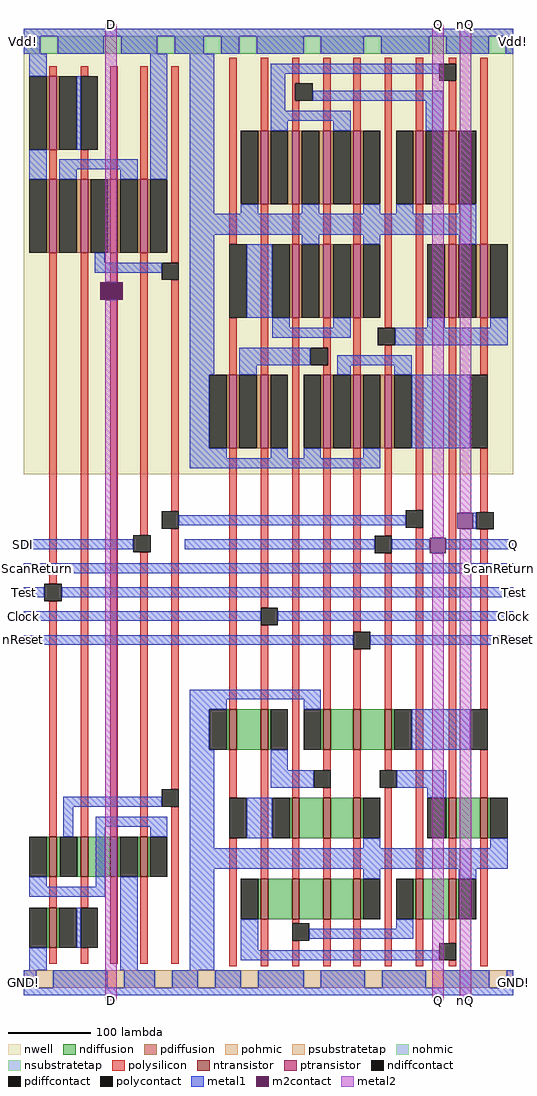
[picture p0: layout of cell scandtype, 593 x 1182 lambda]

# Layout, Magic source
magic
tech tsmc180
<< nwell >>
rect 0 637 593 1176
<< polysilicon >>
rect 31 1119 40 1131
rect 69 1119 78 1131
rect 31 994 40 1030
rect 69 994 78 1030
rect 105 994 114 1131
rect 141 994 150 1131
rect 31 504 40 905
rect 31 198 40 483
rect 69 198 78 905
rect 105 869 114 905
rect 105 198 114 848
rect 141 563 150 905
rect 179 893 188 1131
rect 179 592 188 872
rect 249 915 258 1141
rect 287 1053 296 1141
rect 325 1110 334 1141
rect 325 1089 329 1110
rect 325 1053 334 1089
rect 363 1053 372 1141
rect 399 1053 408 1141
rect 249 757 258 826
rect 287 757 296 964
rect 325 915 334 964
rect 363 915 372 964
rect 399 915 408 964
rect 141 198 150 542
rect 179 255 188 571
rect 249 352 258 668
rect 287 475 296 668
rect 287 352 296 454
rect 31 112 40 149
rect 69 112 78 149
rect 31 44 40 63
rect 69 44 78 63
rect 105 44 114 149
rect 141 44 150 149
rect 179 44 188 234
rect 249 245 258 303
rect 249 41 258 196
rect 287 147 296 303
rect 325 245 334 826
rect 363 790 372 826
rect 368 769 372 790
rect 363 757 372 769
rect 399 757 408 826
rect 437 814 446 1141
rect 475 1053 484 1141
rect 515 1134 524 1141
rect 515 1053 524 1113
rect 437 757 446 793
rect 363 352 372 668
rect 399 446 408 668
rect 437 562 446 668
rect 475 593 484 964
rect 515 915 524 964
rect 553 915 562 1141
rect 399 352 408 425
rect 437 352 446 541
rect 363 278 372 303
rect 363 245 372 257
rect 399 245 408 303
rect 437 278 446 303
rect 325 147 334 196
rect 363 147 372 196
rect 399 147 408 196
rect 287 41 296 98
rect 325 93 334 98
rect 325 41 334 72
rect 363 41 372 98
rect 399 41 408 98
rect 437 41 446 257
rect 475 147 484 572
rect 515 245 524 826
rect 553 757 562 826
rect 553 591 562 668
rect 553 352 562 570
rect 553 245 562 303
rect 515 147 524 196
rect 475 41 484 98
rect 515 69 524 98
rect 515 41 524 48
rect 553 41 562 196
<< ndiffusion >>
rect 246 303 249 352
rect 258 303 287 352
rect 296 303 299 352
rect 28 149 31 198
rect 40 149 44 198
rect 65 149 69 198
rect 78 149 105 198
rect 114 149 117 198
rect 138 149 141 198
rect 150 149 153 198
rect 28 63 31 112
rect 40 63 43 112
rect 360 303 363 352
rect 372 303 399 352
rect 408 303 437 352
rect 446 303 449 352
rect 322 196 325 245
rect 334 196 363 245
rect 372 196 399 245
rect 408 196 411 245
rect 284 98 287 147
rect 296 98 325 147
rect 334 98 363 147
rect 372 98 399 147
rect 408 98 411 147
rect 512 196 515 245
rect 524 196 553 245
rect 562 196 565 245
rect 472 98 475 147
rect 484 98 515 147
rect 524 98 527 147
<< pdiffusion >>
rect 28 1030 31 1119
rect 40 1030 43 1119
rect 28 905 31 994
rect 40 905 43 994
rect 64 905 69 994
rect 78 905 81 994
rect 102 905 105 994
rect 114 905 117 994
rect 138 905 141 994
rect 150 905 153 994
rect 284 964 287 1053
rect 296 964 299 1053
rect 320 964 325 1053
rect 334 964 337 1053
rect 358 964 363 1053
rect 372 964 375 1053
rect 396 964 399 1053
rect 408 964 411 1053
rect 322 826 325 915
rect 334 826 337 915
rect 358 826 363 915
rect 372 826 375 915
rect 396 826 399 915
rect 408 826 411 915
rect 246 668 249 757
rect 258 668 261 757
rect 282 668 287 757
rect 296 668 299 757
rect 472 964 475 1053
rect 484 964 487 1053
rect 508 964 515 1053
rect 524 964 527 1053
rect 360 668 363 757
rect 372 668 375 757
rect 396 668 399 757
rect 408 668 411 757
rect 432 668 437 757
rect 446 668 449 757
rect 510 826 515 915
rect 524 826 527 915
rect 548 826 553 915
rect 562 826 565 915
<< pohmic >>
rect 0 15 15 36
rect 36 15 101 36
rect 122 15 159 36
rect 180 15 211 36
rect 232 15 263 36
rect 284 15 339 36
rect 360 15 413 36
rect 434 15 487 36
rect 508 15 564 36
rect 585 15 593 36
<< nohmic >>
rect 0 1146 20 1167
rect 41 1146 97 1167
rect 118 1146 162 1167
rect 183 1146 218 1167
rect 239 1146 261 1167
rect 282 1146 339 1167
rect 360 1146 412 1167
rect 433 1146 491 1167
rect 512 1146 563 1167
rect 584 1146 593 1167
<< ntransistor >>
rect 249 303 258 352
rect 287 303 296 352
rect 31 149 40 198
rect 69 149 78 198
rect 105 149 114 198
rect 141 149 150 198
rect 31 63 40 112
rect 363 303 372 352
rect 399 303 408 352
rect 437 303 446 352
rect 325 196 334 245
rect 363 196 372 245
rect 399 196 408 245
rect 287 98 296 147
rect 325 98 334 147
rect 363 98 372 147
rect 399 98 408 147
rect 515 196 524 245
rect 553 196 562 245
rect 475 98 484 147
rect 515 98 524 147
<< ptransistor >>
rect 31 1030 40 1119
rect 31 905 40 994
rect 69 905 78 994
rect 105 905 114 994
rect 141 905 150 994
rect 287 964 296 1053
rect 325 964 334 1053
rect 363 964 372 1053
rect 399 964 408 1053
rect 325 826 334 915
rect 363 826 372 915
rect 399 826 408 915
rect 249 668 258 757
rect 287 668 296 757
rect 475 964 484 1053
rect 515 964 524 1053
rect 363 668 372 757
rect 399 668 408 757
rect 437 668 446 757
rect 515 826 524 915
rect 553 826 562 915
<< polycontact >>
rect 69 1030 90 1119
rect 25 483 46 504
rect 93 848 120 869
rect 167 872 188 893
rect 329 1089 350 1110
rect 249 826 270 915
rect 167 571 188 592
rect 133 542 154 563
rect 287 454 308 475
rect 167 234 188 255
rect 69 63 90 112
rect 249 196 270 245
rect 347 769 368 790
rect 503 1113 524 1134
rect 429 793 450 814
rect 463 572 484 593
rect 425 541 446 562
rect 399 425 420 446
rect 351 257 372 278
rect 431 257 452 278
rect 325 72 346 93
rect 541 668 562 757
rect 548 570 569 591
rect 541 303 562 352
rect 503 48 524 69
<< ndiffcontact >>
rect 225 303 246 352
rect 299 303 320 352
rect 7 149 28 198
rect 44 149 65 198
rect 117 149 138 198
rect 153 149 174 198
rect 7 63 28 112
rect 43 63 64 112
rect 339 303 360 352
rect 449 303 470 352
rect 301 196 322 245
rect 411 196 432 245
rect 263 98 284 147
rect 411 98 432 147
rect 489 196 512 245
rect 565 196 586 245
rect 451 98 472 147
rect 527 98 548 147
<< pdiffcontact >>
rect 7 1030 28 1119
rect 43 1030 64 1119
rect 7 905 28 994
rect 43 905 64 994
rect 81 905 102 994
rect 117 905 138 994
rect 153 905 174 994
rect 263 964 284 1053
rect 299 964 320 1053
rect 337 964 358 1053
rect 375 964 396 1053
rect 411 964 432 1053
rect 301 826 322 915
rect 337 826 358 915
rect 375 826 396 915
rect 411 826 432 915
rect 225 668 246 757
rect 261 668 282 757
rect 299 668 320 757
rect 451 964 472 1053
rect 487 964 508 1053
rect 527 964 548 1053
rect 339 668 360 757
rect 375 668 396 757
rect 411 668 432 757
rect 449 668 470 757
rect 489 826 510 915
rect 527 826 548 915
rect 565 826 586 915
<< psubstratetap >>
rect 15 15 36 36
rect 101 15 122 36
rect 159 15 180 36
rect 211 15 232 36
rect 263 15 284 36
rect 339 15 360 36
rect 413 15 434 36
rect 487 15 508 36
rect 564 15 585 36
<< nsubstratetap >>
rect 20 1146 41 1167
rect 97 1146 118 1167
rect 162 1146 183 1167
rect 218 1146 239 1167
rect 261 1146 282 1167
rect 339 1146 360 1167
rect 412 1146 433 1167
rect 491 1146 512 1167
rect 563 1146 584 1167
<< metal1 >>
rect 0 1167 593 1176
rect 0 1146 20 1167
rect 41 1146 97 1167
rect 118 1146 162 1167
rect 183 1146 218 1167
rect 239 1146 261 1167
rect 282 1146 339 1167
rect 360 1146 412 1167
rect 433 1146 491 1167
rect 512 1146 563 1167
rect 584 1146 593 1167
rect 7 1119 28 1146
rect 64 1030 69 1119
rect 7 994 28 1030
rect 43 1006 138 1018
rect 43 994 64 1006
rect 117 994 138 1006
rect 153 994 174 1146
rect 201 952 231 1146
rect 299 1122 503 1134
rect 299 1077 317 1122
rect 350 1089 508 1101
rect 299 1065 396 1077
rect 299 1053 320 1065
rect 375 1053 396 1065
rect 487 1053 508 1089
rect 263 952 284 964
rect 337 952 358 964
rect 411 952 432 964
rect 451 952 472 964
rect 527 952 548 964
rect 201 927 548 952
rect 86 893 98 905
rect 86 881 167 893
rect 201 757 231 927
rect 337 915 358 927
rect 411 915 432 927
rect 527 915 548 927
rect 270 826 301 915
rect 301 814 322 826
rect 375 814 396 826
rect 489 814 510 826
rect 565 814 586 826
rect 301 802 396 814
rect 450 793 586 814
rect 261 769 347 790
rect 380 769 470 781
rect 261 757 282 769
rect 380 757 396 769
rect 449 757 470 769
rect 201 668 225 757
rect 201 656 246 668
rect 299 656 320 668
rect 470 668 541 757
rect 339 656 360 668
rect 411 656 432 668
rect 201 644 432 656
rect 188 575 463 587
rect 544 571 548 590
rect 0 546 133 558
rect 195 546 425 558
rect 446 546 492 558
rect 511 546 593 558
rect 0 517 593 529
rect 0 488 25 500
rect 46 488 593 500
rect 0 459 287 471
rect 308 459 593 471
rect 0 430 399 442
rect 420 430 593 442
rect 201 364 360 376
rect 201 352 246 364
rect 339 352 360 364
rect 201 303 225 352
rect 470 303 541 352
rect 48 234 167 246
rect 48 198 60 234
rect 87 210 174 222
rect 7 137 28 149
rect 87 137 99 210
rect 153 198 174 210
rect 7 125 99 137
rect 201 184 231 303
rect 299 278 320 303
rect 299 257 351 278
rect 452 257 512 278
rect 489 245 512 257
rect 270 196 301 245
rect 411 184 432 196
rect 565 184 586 196
rect 201 159 586 184
rect 64 63 69 112
rect 7 36 28 63
rect 117 36 138 149
rect 201 36 231 159
rect 411 147 432 159
rect 527 147 548 159
rect 263 60 284 98
rect 451 86 472 98
rect 346 74 472 86
rect 263 48 503 60
rect 0 15 15 36
rect 36 15 101 36
rect 122 15 159 36
rect 180 15 211 36
rect 232 15 263 36
rect 284 15 339 36
rect 360 15 413 36
rect 434 15 487 36
rect 508 15 564 36
rect 585 15 593 36
rect 0 6 593 15
<< m2contact >>
rect 93 848 120 869
rect 525 571 544 590
rect 492 541 511 560
<< metal2 >>
rect 99 869 113 1182
rect 99 0 113 848
rect 495 560 509 1182
rect 528 590 542 1182
rect 495 0 509 541
rect 528 0 542 571
<< labels >>
rlabel metal1 0 1146 0 1176 3 Vdd!
rlabel metal1 0 6 0 36 3 GND!
rlabel metal2 99 0 113 0 1 D
rlabel metal2 99 1182 113 1182 5 D
rlabel metal1 593 6 593 36 7 GND!
rlabel metal1 593 517 593 529 7 ScanReturn
rlabel metal1 593 546 593 558 7 Q
rlabel metal1 593 488 593 500 7 Test
rlabel metal1 593 459 593 471 7 Clock
rlabel metal1 593 430 593 442 7 nReset
rlabel metal1 0 430 0 442 3 nReset
rlabel metal1 0 459 0 471 3 Clock
rlabel metal1 0 488 0 500 3 Test
rlabel metal1 0 517 0 529 3 ScanReturn
rlabel metal1 0 546 0 558 3 SDI
rlabel metal2 495 1182 509 1182 5 Q
rlabel metal2 495 0 509 0 1 Q
rlabel metal2 528 0 542 0 1 nQ
rlabel metal2 528 1182 542 1182 5 nQ
rlabel metal1 593 1146 593 1176 7 Vdd!
<< end >>
